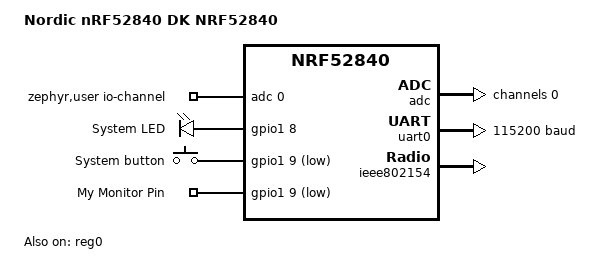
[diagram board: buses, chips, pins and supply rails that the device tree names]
/dts-v1/;
#include <nordic/nrf52840_qiaa.dtsi>
#include "mgair_v3_partition.dtsi"
#include "mgair_v3-pinctrl.dtsi"
#include <zephyr/dt-bindings/input/input-event-codes.h>
#include <zephyr/dt-bindings/adc/adc.h>
#include <zephyr/dt-bindings/adc/nrf-adc.h>

/ {
	model = "Nordic nRF52840 DK NRF52840";
	compatible = "dawidkulpa,mgair_v3";

	chosen {
		zephyr,ieee802154 = &ieee802154;
		zephyr,console = &uart0;
		zephyr,shell-uart = &uart0;
		zephyr,uart-mcumgr = &uart0;
		zephyr,bt-mon-uart = &uart0;
		zephyr,bt-c2h-uart = &uart0;
	};

	zephyr,user {
		/* Mówimy: ten wirtualny użytkownik korzysta z kanału 0 w ADC */
		io-channels = <&adc 0>;
	};

	leds {
		compatible = "gpio-leds";

		led0: led_0 {
			gpios = <&gpio1 8 GPIO_ACTIVE_HIGH>;
			label = "System LED";
		};
	};

	buttons {
		compatible = "gpio-keys";

		button0: button_0 {
			gpios = <&gpio1 9 (GPIO_PULL_UP | GPIO_ACTIVE_LOW)>;
			label = "System button";
			zephyr,code = <INPUT_KEY_0>;
		};
	};

	my_inputs {
		compatible = "gpio-keys";

		pin_sensor: pin_sensor_0 {
			gpios = <&gpio1 9 (GPIO_ACTIVE_LOW | GPIO_PULL_UP)>;
			label = "My Monitor Pin";
		};
	};

	/* These aliases are provided for compatibility with samples */
	aliases {
		led0 = &led0;
		sw0 = &button0;
		mcuboot-button0 = &button0;
		mcuboot-led0 = &led0;
		watchdog0 = &wdt0;
		my-input-pin = &pin_sensor;
	};
};

&reg0 {
	status = "okay";
};

&reg1 {
	regulator-initial-mode = <NRF5X_REG_MODE_DCDC>;
};

&adc {
	status = "okay";
	#address-cells = <1>;
	#size-cells = <0>;

	channel@0 {
		reg = <0>;
		zephyr,gain = "ADC_GAIN_1_6";
		zephyr,reference = "ADC_REF_INTERNAL";
		zephyr,acquisition-time = <ADC_ACQ_TIME(ADC_ACQ_TIME_MICROSECONDS, 40)>;
		zephyr,input-positive = <NRF_SAADC_AIN3>;

		zephyr,resolution = <12>;
	};
};

&uicr {
	gpio-as-nreset;
};

&gpiote {
	status = "okay";
};

&gpio0 {
	status = "okay";
};

&gpio1 {
	status = "okay";
};

&uart0 {
	compatible = "nordic,nrf-uarte";
	status = "okay";
	current-speed = <115200>;
	pinctrl-0 = <&uart0_default>;
	pinctrl-1 = <&uart0_sleep>;
	pinctrl-names = "default", "sleep";
};

&i2c1 {
	compatible = "nordic,nrf-twi";
	/* Cannot be used together with spi1. */
	/* status = "okay"; */
	pinctrl-0 = <&i2c1_default>;
	pinctrl-1 = <&i2c1_sleep>;
	pinctrl-names = "default", "sleep";
};

&ieee802154 {
	status = "okay";
};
